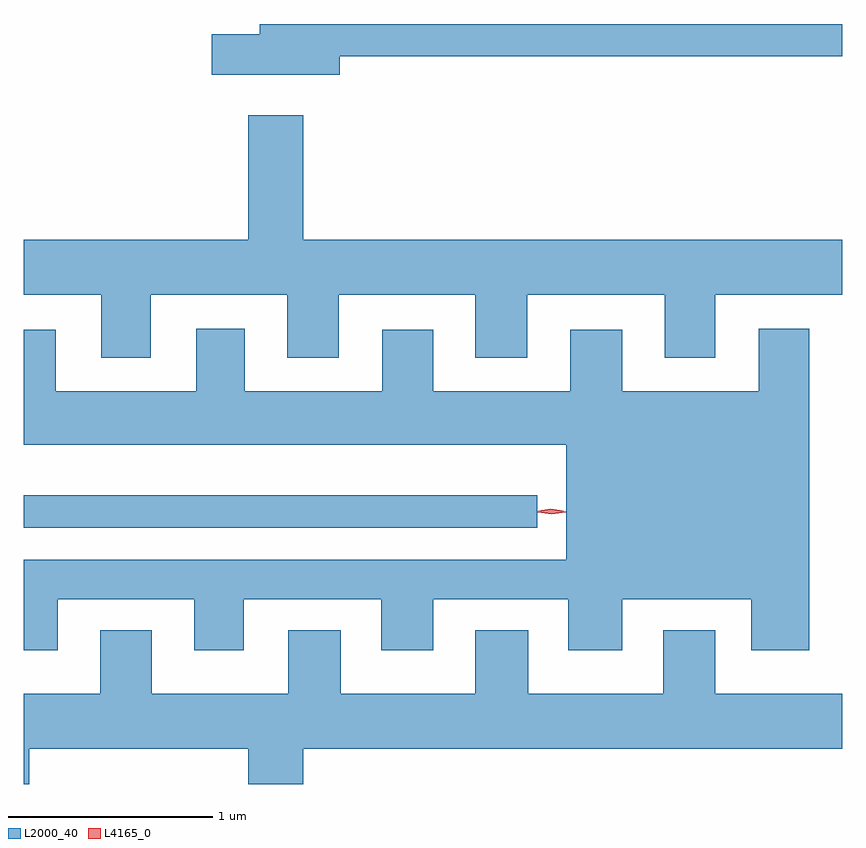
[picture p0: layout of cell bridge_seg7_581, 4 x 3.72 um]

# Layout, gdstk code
import gdstk
lib = gdstk.Library(unit=1e-6, precision=1e-09)
def R(c, l, rs):  # rectangles x0, y0, x1, y1
    for r in rs: c.add(gdstk.rectangle(r[:2], r[2:], *l))
def P(c, l, *ps):  # polygons
    for p in ps: c.add(gdstk.Polygon(p, *l))
L2000_40 = (2000, 40)
L4165_0 = (4165, 0)

bridge_seg7_581 = lib.new_cell('bridge_seg7_581')
R(bridge_seg7_581, L2000_40, [(633.559,1801.976,636.068,1802.134)])
P(bridge_seg7_581, L2000_40, [(635.104,1804.281),(637.559,1804.281),(637.559,1804.439),(634.711,1804.439),(634.711,1804.389),(634.476,1804.389),(634.476,1804.191),(635.104,1804.191)],
  [(634.179,1803.116),(634.846,1803.116),(634.846,1802.806),(635.099,1802.806),(635.099,1803.116),(635.766,1803.116),(635.766,1802.806),(636.019,1802.806),(636.019,1803.116),(636.691,1803.116),(636.691,1802.806),(636.939,1802.806),(636.939,1803.116),(637.559,1803.116),(637.559,1803.384),(634.924,1803.384),(634.924,1803.994),(634.656,1803.994),(634.656,1803.384),(633.559,1803.384),(633.559,1803.116),(633.936,1803.116),(633.936,1802.806),(634.179,1802.806)],
  [(633.724,1801.626),(634.391,1801.626),(634.391,1801.376),(634.634,1801.376),(634.634,1801.626),(635.306,1801.626),(635.306,1801.376),(635.559,1801.376),(635.559,1801.626),(636.221,1801.626),(636.221,1801.376),(636.484,1801.376),(636.484,1801.626),(637.116,1801.626),(637.116,1801.376),(637.399,1801.376),(637.399,1802.949),(637.151,1802.949),(637.151,1802.644),(636.484,1802.644),(636.484,1802.944),(636.231,1802.944),(636.231,1802.644),(635.559,1802.644),(635.559,1802.944),(635.311,1802.944),(635.311,1802.644),(634.639,1802.644),(634.639,1802.949),(634.401,1802.949),(634.401,1802.644),(633.714,1802.644),(633.714,1802.944),(633.559,1802.944),(633.559,1802.381),(636.211,1802.381),(636.211,1801.819),(633.559,1801.819),(633.559,1801.376),(633.724,1801.376)],
  [(633.559,1800.723),(633.584,1800.723),(633.584,1800.896),(634.656,1800.896),(634.656,1800.723),(634.924,1800.723),(634.924,1800.896),(637.559,1800.896),(637.559,1801.164),(636.939,1801.164),(636.939,1801.474),(636.686,1801.474),(636.686,1801.164),(636.024,1801.164),(636.024,1801.474),(635.766,1801.474),(635.766,1801.164),(635.109,1801.164),(635.109,1801.474),(634.851,1801.474),(634.851,1801.164),(634.184,1801.164),(634.184,1801.474),(633.931,1801.474),(633.931,1801.164),(633.559,1801.164)])
P(bridge_seg7_581, L4165_0, [(636.139,1802.043),(636.07,1802.052),(636.07,1802.053),(636.07,1802.053),(636.139,1802.063),(636.207,1802.053),(636.208,1802.053),(636.207,1802.052)],
  [(636.135,1802.048),(636.073,1802.058),(636.073,1802.058),(636.073,1802.059),(636.135,1802.068),(636.197,1802.059),(636.198,1802.059),(636.197,1802.058)])

lib.write_gds('bridge_seg7_581.gds')
